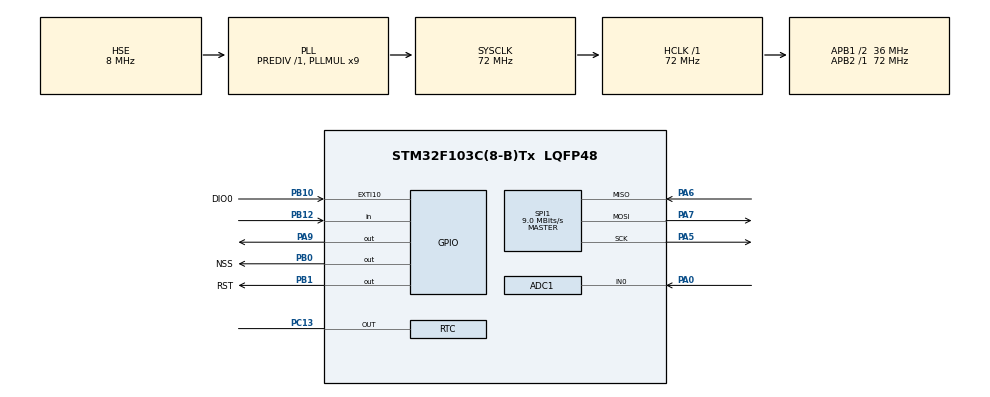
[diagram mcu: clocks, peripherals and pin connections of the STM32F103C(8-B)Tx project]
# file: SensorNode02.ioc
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ADC1.Channel-0\#ChannelRegularConversion=ADC_CHANNEL_0
ADC1.NbrOfConversionFlag=1
ADC1.Rank-0\#ChannelRegularConversion=1
ADC1.SamplingTime-0\#ChannelRegularConversion=ADC_SAMPLETIME_1CYCLE_5
ADC1.master=1
Dma.ADC1.0.Direction=DMA_PERIPH_TO_MEMORY
Dma.ADC1.0.Instance=DMA1_Channel1
Dma.ADC1.0.MemDataAlignment=DMA_MDATAALIGN_HALFWORD
Dma.ADC1.0.MemInc=DMA_MINC_ENABLE
Dma.ADC1.0.Mode=DMA_CIRCULAR
Dma.ADC1.0.PeriphDataAlignment=DMA_PDATAALIGN_HALFWORD
Dma.ADC1.0.PeriphInc=DMA_PINC_DISABLE
Dma.ADC1.0.Priority=DMA_PRIORITY_LOW
Dma.Request0=ADC1
Mcu.Family=STM32F1
Mcu.Name=STM32F103C(8-B)Tx
Mcu.Package=LQFP48
NVIC.DMA1_Channel1_IRQn=true\:0\:0\:false\:false\:true\:false\:true\:true
NVIC.EXTI15_10_IRQn=true\:1\:0\:true\:false\:true\:true\:true\:true
NVIC.PriorityGroup=NVIC_PRIORITYGROUP_4
NVIC.RTC_Alarm_IRQn=true\:0\:0\:false\:false\:true\:true\:true\:true
PA0-WKUP.Signal=ADCx_IN0
PA13.Mode=Serial_Wire
PA13.Signal=SYS_JTMS-SWDIO
PA14.Mode=Serial_Wire
PA14.Signal=SYS_JTCK-SWCLK
PA5.Mode=Full_Duplex_Master
PA5.Signal=SPI1_SCK
PA6.Mode=Full_Duplex_Master
PA6.Signal=SPI1_MISO
PA7.Mode=Full_Duplex_Master
PA7.Signal=SPI1_MOSI
PA9.Signal=GPIO_Output
PB0.GPIO_Label=NSS
PB0.PinState=GPIO_PIN_SET
PB0.Signal=GPIO_Output
PB1.GPIO_Label=RST
PB1.PinState=GPIO_PIN_SET
PB1.Signal=GPIO_Output
PB10.GPIO_Label=DIO0
PB10.Signal=GPXTI10
PB12.Signal=GPIO_Input
PC13-TAMPER-RTC.Mode=RTC OUT
PC13-TAMPER-RTC.Signal=RTC_OUT
PC14-OSC32_IN.Mode=LSE-External-Oscillator
PC14-OSC32_IN.Signal=RCC_OSC32_IN
PC15-OSC32_OUT.Mode=LSE-External-Oscillator
PC15-OSC32_OUT.Signal=RCC_OSC32_OUT
PD0-OSC_IN.Mode=HSE-External-Oscillator
PD0-OSC_IN.Signal=RCC_OSC_IN
PD1-OSC_OUT.Mode=HSE-External-Oscillator
PD1-OSC_OUT.Signal=RCC_OSC_OUT
ProjectManager.HeapSize=0x200
ProjectManager.StackSize=0x400
ProjectManager.TargetToolchain=STM32CubeIDE
RCC.ADCPresc=RCC_ADCPCLK2_DIV6
RCC.AHBFreq_Value=72000000
RCC.APB1CLKDivider=RCC_HCLK_DIV2
RCC.APB1Freq_Value=36000000
RCC.APB1TimFreq_Value=72000000
RCC.APB2Freq_Value=72000000
RCC.APB2TimFreq_Value=72000000
RCC.HCLKFreq_Value=72000000
RCC.PLLMUL=RCC_PLL_MUL9
RCC.PLLSourceVirtual=RCC_PLLSOURCE_HSE
RCC.SYSCLKFreq_VALUE=72000000
RCC.SYSCLKSource=RCC_SYSCLKSOURCE_PLLCLK
RCC.USBFreq_Value=72000000
RTC.Minutes_A-RTC\ OUT=0
RTC.Seconds_A-RTC\ OUT=11
SH.ADCx_IN0.0=ADC1_IN0,IN0
SPI1.BaudRatePrescaler=SPI_BAUDRATEPRESCALER_8
SPI1.CalculateBaudRate=9.0 MBits/s
SPI1.Direction=SPI_DIRECTION_2LINES
SPI1.Mode=SPI_MODE_MASTER
SPI1.VirtualType=VM_MASTER
TIM1.Prescaler=71
VP_RTC_VS_RTC_Activate.Mode=RTC_Enabled
VP_TIM1_VS_ClockSourceINT.Mode=Internal
board=custom

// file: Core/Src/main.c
/* USER CODE BEGIN Header */
/**
  ******************************************************************************
  * @file           : main.c
  * @brief          : Main program body
  ******************************************************************************
  * @attention
  *
  * Copyright (c) 2025 STMicroelectronics.
  * All rights reserved.
  *
  * This software is licensed under terms that can be found in the LICENSE file
  * in the root directory of this software component.
  * If no LICENSE file comes with this software, it is provided AS-IS.
  *
  ******************************************************************************
  */
/* USER CODE END Header */
#include "main.h"

/* USER CODE BEGIN Includes */
#include "DS18B20.h"
#include "Lora.h"
/* USER CODE END Includes */

/* USER CODE BEGIN PM */
LoRa myLoRa;
uint16_t LoRa_Status;
uint8_t RxBuffer[4];
uint16_t Data_Moisture;
uint8_t packet[5];
uint8_t Alarm_Set = 0x02;
//float soil_TEMP;
//float moisture_percentage;
#define ADC_MIN 1000  // Giá trị ADC khi đất ướt
#define ADC_MAX 3000  // Giá trị ADC khi đất khô

typedef struct Sensor_Data {
	float soil_TEMP;
	float moisture_percentage;
} Data;
Data Sensor_data;

/* USER CODE END PM */

ADC_HandleTypeDef hadc1;
DMA_HandleTypeDef hdma_adc1;

RTC_HandleTypeDef hrtc;

SPI_HandleTypeDef hspi1;

TIM_HandleTypeDef htim1;

void SystemClock_Config(void);
static void MX_GPIO_Init(void);
static void MX_DMA_Init(void);
static void MX_ADC1_Init(void);
static void MX_RTC_Init(void);
static void MX_SPI1_Init(void);
static void MX_TIM1_Init(void);
/* USER CODE BEGIN PFP */
void Data_Sending(const Data *_Data);
/* USER CODE END PFP */

int main(void)
{

  /* MCU Configuration--------------------------------------------------------*/

  /* Reset of all peripherals, Initializes the Flash interface and the Systick. */
  HAL_Init();

  /* Configure the system clock */
  SystemClock_Config();

  /* Initialize all configured peripherals */
  MX_GPIO_Init();
  MX_DMA_Init();
  MX_ADC1_Init();
  MX_RTC_Init();
  MX_SPI1_Init();
  MX_TIM1_Init();
  /* USER CODE BEGIN 2 */
  HAL_TIM_Base_Start(&htim1);

//LORA STATUS CONFIG
  myLoRa = newLoRa();

  myLoRa.CS_port         = NSS_GPIO_Port;
  myLoRa.CS_pin          = NSS_Pin;
  myLoRa.reset_port      = RST_GPIO_Port;
  myLoRa.reset_pin       = RST_Pin;
  myLoRa.DIO0_port       = DIO0_GPIO_Port;
  myLoRa.DIO0_pin        = DIO0_Pin;
  myLoRa.hSPIx           = &hspi1;

  myLoRa.frequency             = 440;             // default = 433 MHz
  myLoRa.spredingFactor        = SF_7;            // default = SF_7
  myLoRa.bandWidth             = BW_31_25KHz;       // default = BW_125KHz
  myLoRa.crcRate               = CR_4_5;          // default = CR_4_5
  myLoRa.power                 = POWER_20db;      // default = 20db
  myLoRa.overCurrentProtection = 130;             // default = 100 mA
  myLoRa.preamble              = 9;              // default = 8;

  if (LoRa_init(&myLoRa) == LORA_OK){
	  LoRa_Status = 1;
  }

//STABLE THE POWER AND MCU TO MAKE FLASHING JOB EASIER
//  HAL_Delay(2000);
  /* USER CODE END 2 */

  /* Infinite loop */
  while (1)
  {

    /* USER CODE BEGIN 3 */
////TURN OFF THE INTERRUPT FROM SX1278 LORA MODULE TO AVOILD UNWANTED WAKEUP STM32F1 BY SEND MODULE TO SLEEPMODE
	  LoRa_gotoMode(&myLoRa, SLEEP_MODE);
////ENTER SLEEPMODE AND NOW THE SYSTEM WAIT FOR INTERRUPT FROM RTC TO WAKEUP
  	  HAL_SuspendTick();
// 	  HAL_PWR_EnterSLEEPMode(PWR_MAINREGULATOR_ON, PWR_SLEEPENTRY_WFI);
  	  HAL_PWR_EnterSTOPMode(PWR_LOWPOWERREGULATOR_ON, PWR_STOPENTRY_WFI);
////RESUME TICK AFTER WAKING UP AND TURNON THE POWER MOSFET FOR READING DATA PROCESS
  	  SystemClock_Config();
  	  HAL_ResumeTick();
 	  HAL_GPIO_WritePin(GPIOA, GPIO_PIN_9, GPIO_PIN_SET); // Set the pin out put high to turn on the power Mosfet
  	  HAL_Delay(500); //Delay couple ms to stable the sensor's power
  	  LoRa_gotoMode(&myLoRa, STNBY_MODE);
	  LoRa_startReceiving(&myLoRa);

//READ DS18B20
  	  Sensor_data.soil_TEMP = Check_Temp();

//READ ADC Moisture
	  HAL_ADC_Start_DMA(&hadc1, (uint32_t*)&Data_Moisture, 1);
	  HAL_Delay(10);
	  HAL_ADC_Stop_DMA(&hadc1);

	  if (Data_Moisture > ADC_MAX) Data_Moisture = ADC_MAX;
	  if (Data_Moisture < ADC_MIN) Data_Moisture = ADC_MIN;
	  Sensor_data.moisture_percentage = ((float)(ADC_MAX - Data_Moisture) / (ADC_MAX - ADC_MIN)) * 100;

//SEND LORA DATA
	  Data_Sending(&Sensor_data);

//HANDLE START NETWORK CASE IF GATEWAY REQUIRE
	if (RxBuffer[0] == 0xFF)
	{
		while (RxBuffer[0] != 0xC0) //0xEE
		{
			//Wait for 0xC0 indicate ACK
			//If received ACK --> break while and send back ACK to gateway to indicate that sensor node is ready to start networ
		}
	HAL_Delay(250); //WAIT FOR NODE 1 TO FINISH ACK TRANSMIT
	LoRa_transmit(&myLoRa, &Alarm_Set, sizeof(Alarm_Set), 500);
	//After sending ACK --> sensor node wait for gateway to received all ACK from all other sensor nodes. After that, Gateway send start signal 0xB0 to start network
	LoRa_startReceiving(&myLoRa);
//	HAL_Delay(500); DO WE REALLY NEED THIS??
	while (RxBuffer[0] != 0xB0) //0xDD
		{
			//wait for start signal 0xB0
		}
	//Finally, after received start signal from Gateway --> Reset wake up alarm to synchronize time slot between nodes
	MX_RTC_Init();
	}

//AFTER SENDING SENSOR DATA, TURN OFF THE POWER MOSFET AND GO TO SLEEP AGAIN, WAITING FOR A NEW RTC WAKE UP...
	HAL_GPIO_WritePin(GPIOA, GPIO_PIN_9, GPIO_PIN_RESET);
  }
  /* USER CODE END 3 */
}

void SystemClock_Config(void)
{
  RCC_OscInitTypeDef RCC_OscInitStruct = {0};
  RCC_ClkInitTypeDef RCC_ClkInitStruct = {0};
  RCC_PeriphCLKInitTypeDef PeriphClkInit = {0};

  /** Initializes the RCC Oscillators according to the specified parameters
  * in the RCC_OscInitTypeDef structure.
  */
  RCC_OscInitStruct.OscillatorType = RCC_OSCILLATORTYPE_LSI|RCC_OSCILLATORTYPE_HSE;
  RCC_OscInitStruct.HSEState = RCC_HSE_ON;
  RCC_OscInitStruct.HSEPredivValue = RCC_HSE_PREDIV_DIV1;
  RCC_OscInitStruct.HSIState = RCC_HSI_ON;
  RCC_OscInitStruct.LSIState = RCC_LSI_ON;
  RCC_OscInitStruct.PLL.PLLState = RCC_PLL_ON;
  RCC_OscInitStruct.PLL.PLLSource = RCC_PLLSOURCE_HSE;
  RCC_OscInitStruct.PLL.PLLMUL = RCC_PLL_MUL9;
  if (HAL_RCC_OscConfig(&RCC_OscInitStruct) != HAL_OK)
  {
    Error_Handler();
  }

  /** Initializes the CPU, AHB and APB buses clocks
  */
  RCC_ClkInitStruct.ClockType = RCC_CLOCKTYPE_HCLK|RCC_CLOCKTYPE_SYSCLK
                              |RCC_CLOCKTYPE_PCLK1|RCC_CLOCKTYPE_PCLK2;
  RCC_ClkInitStruct.SYSCLKSource = RCC_SYSCLKSOURCE_PLLCLK;
  RCC_ClkInitStruct.AHBCLKDivider = RCC_SYSCLK_DIV1;
  RCC_ClkInitStruct.APB1CLKDivider = RCC_HCLK_DIV2;
  RCC_ClkInitStruct.APB2CLKDivider = RCC_HCLK_DIV1;

  if (HAL_RCC_ClockConfig(&RCC_ClkInitStruct, FLASH_LATENCY_2) != HAL_OK)
  {
    Error_Handler();
  }
  PeriphClkInit.PeriphClockSelection = RCC_PERIPHCLK_RTC|RCC_PERIPHCLK_ADC;
  PeriphClkInit.RTCClockSelection = RCC_RTCCLKSOURCE_LSI;
  PeriphClkInit.AdcClockSelection = RCC_ADCPCLK2_DIV6;
  if (HAL_RCCEx_PeriphCLKConfig(&PeriphClkInit) != HAL_OK)
  {
    Error_Handler();
  }
}

static void MX_ADC1_Init(void)
{

  ADC_ChannelConfTypeDef sConfig = {0};

  /** Common config
  */
  hadc1.Instance = ADC1;
  hadc1.Init.ScanConvMode = ADC_SCAN_DISABLE;
  hadc1.Init.ContinuousConvMode = DISABLE;
  hadc1.Init.DiscontinuousConvMode = DISABLE;
  hadc1.Init.ExternalTrigConv = ADC_SOFTWARE_START;
  hadc1.Init.DataAlign = ADC_DATAALIGN_RIGHT;
  hadc1.Init.NbrOfConversion = 1;
  if (HAL_ADC_Init(&hadc1) != HAL_OK)
  {
    Error_Handler();
  }

  /** Configure Regular Channel
  */
  sConfig.Channel = ADC_CHANNEL_0;
  sConfig.Rank = ADC_REGULAR_RANK_1;
  sConfig.SamplingTime = ADC_SAMPLETIME_1CYCLE_5;
  if (HAL_ADC_ConfigChannel(&hadc1, &sConfig) != HAL_OK)
  {
    Error_Handler();
  }

}

static void MX_RTC_Init(void)
{

  RTC_TimeTypeDef sTime = {0};
  RTC_DateTypeDef DateToUpdate = {0};
  RTC_AlarmTypeDef sAlarm = {0};

  /** Initialize RTC Only
  */
  hrtc.Instance = RTC;
  hrtc.Init.AsynchPrediv = RTC_AUTO_1_SECOND;
  hrtc.Init.OutPut = RTC_OUTPUTSOURCE_ALARM;
  if (HAL_RTC_Init(&hrtc) != HAL_OK)
  {
    Error_Handler();
  }

  /** Initialize RTC and set the Time and Date
  */
  sTime.Hours = 0x0;
  sTime.Minutes = 0x0;
  sTime.Seconds = 0x0;

  if (HAL_RTC_SetTime(&hrtc, &sTime, RTC_FORMAT_BCD) != HAL_OK)
  {
    Error_Handler();
  }
  DateToUpdate.WeekDay = RTC_WEEKDAY_MONDAY;
  DateToUpdate.Month = RTC_MONTH_JANUARY;
  DateToUpdate.Date = 0x1;
  DateToUpdate.Year = 0x0;

  if (HAL_RTC_SetDate(&hrtc, &DateToUpdate, RTC_FORMAT_BCD) != HAL_OK)
  {
    Error_Handler();
  }

  /** Enable the Alarm A
  */
  sAlarm.AlarmTime.Hours = 0x0;
  sAlarm.AlarmTime.Minutes = 0x0;
  sAlarm.AlarmTime.Seconds = 0x11;
  sAlarm.Alarm = RTC_ALARM_A;
  if (HAL_RTC_SetAlarm_IT(&hrtc, &sAlarm, RTC_FORMAT_BCD) != HAL_OK)
  {
    Error_Handler();
  }

}

static void MX_SPI1_Init(void)
{

  /* SPI1 parameter configuration*/
  hspi1.Instance = SPI1;
  hspi1.Init.Mode = SPI_MODE_MASTER;
  hspi1.Init.Direction = SPI_DIRECTION_2LINES;
  hspi1.Init.DataSize = SPI_DATASIZE_8BIT;
  hspi1.Init.CLKPolarity = SPI_POLARITY_LOW;
  hspi1.Init.CLKPhase = SPI_PHASE_1EDGE;
  hspi1.Init.NSS = SPI_NSS_SOFT;
  hspi1.Init.BaudRatePrescaler = SPI_BAUDRATEPRESCALER_8;
  hspi1.Init.FirstBit = SPI_FIRSTBIT_MSB;
  hspi1.Init.TIMode = SPI_TIMODE_DISABLE;
  hspi1.Init.CRCCalculation = SPI_CRCCALCULATION_DISABLE;
  hspi1.Init.CRCPolynomial = 10;
  if (HAL_SPI_Init(&hspi1) != HAL_OK)
  {
    Error_Handler();
  }

}

static void MX_TIM1_Init(void)
{

  TIM_ClockConfigTypeDef sClockSourceConfig = {0};
  TIM_MasterConfigTypeDef sMasterConfig = {0};

  htim1.Instance = TIM1;
  htim1.Init.Prescaler = 71;
  htim1.Init.CounterMode = TIM_COUNTERMODE_UP;
  htim1.Init.Period = 65535;
  htim1.Init.ClockDivision = TIM_CLOCKDIVISION_DIV1;
  htim1.Init.RepetitionCounter = 0;
  htim1.Init.AutoReloadPreload = TIM_AUTORELOAD_PRELOAD_DISABLE;
  if (HAL_TIM_Base_Init(&htim1) != HAL_OK)
  {
    Error_Handler();
  }
  sClockSourceConfig.ClockSource = TIM_CLOCKSOURCE_INTERNAL;
  if (HAL_TIM_ConfigClockSource(&htim1, &sClockSourceConfig) != HAL_OK)
  {
    Error_Handler();
  }
  sMasterConfig.MasterOutputTrigger = TIM_TRGO_RESET;
  sMasterConfig.MasterSlaveMode = TIM_MASTERSLAVEMODE_DISABLE;
  if (HAL_TIMEx_MasterConfigSynchronization(&htim1, &sMasterConfig) != HAL_OK)
  {
    Error_Handler();
  }

}

static void MX_DMA_Init(void)
{

  /* DMA controller clock enable */
  __HAL_RCC_DMA1_CLK_ENABLE();

  /* DMA interrupt init */
  /* DMA1_Channel1_IRQn interrupt configuration */
  HAL_NVIC_SetPriority(DMA1_Channel1_IRQn, 0, 0);
  HAL_NVIC_EnableIRQ(DMA1_Channel1_IRQn);

}

static void MX_GPIO_Init(void)
{
  GPIO_InitTypeDef GPIO_InitStruct = {0};

  /* GPIO Ports Clock Enable */
  __HAL_RCC_GPIOC_CLK_ENABLE();
  __HAL_RCC_GPIOD_CLK_ENABLE();
  __HAL_RCC_GPIOA_CLK_ENABLE();
  __HAL_RCC_GPIOB_CLK_ENABLE();

  /*Configure GPIO pin Output Level */
  HAL_GPIO_WritePin(GPIOB, NSS_Pin|RST_Pin, GPIO_PIN_SET);

  /*Configure GPIO pin Output Level */
  HAL_GPIO_WritePin(GPIOA, GPIO_PIN_9, GPIO_PIN_RESET);

  /*Configure GPIO pins : NSS_Pin RST_Pin */
  GPIO_InitStruct.Pin = NSS_Pin|RST_Pin;
  GPIO_InitStruct.Mode = GPIO_MODE_OUTPUT_PP;
  GPIO_InitStruct.Pull = GPIO_NOPULL;
  GPIO_InitStruct.Speed = GPIO_SPEED_FREQ_LOW;
  HAL_GPIO_Init(GPIOB, &GPIO_InitStruct);

  /*Configure GPIO pin : DIO0_Pin */
  GPIO_InitStruct.Pin = DIO0_Pin;
  GPIO_InitStruct.Mode = GPIO_MODE_IT_RISING;
  GPIO_InitStruct.Pull = GPIO_NOPULL;
  HAL_GPIO_Init(DIO0_GPIO_Port, &GPIO_InitStruct);

  /*Configure GPIO pin : PB12 */
  GPIO_InitStruct.Pin = GPIO_PIN_12;
  GPIO_InitStruct.Mode = GPIO_MODE_INPUT;
  GPIO_InitStruct.Pull = GPIO_NOPULL;
  HAL_GPIO_Init(GPIOB, &GPIO_InitStruct);

  /*Configure GPIO pin : PA9 */
  GPIO_InitStruct.Pin = GPIO_PIN_9;
  GPIO_InitStruct.Mode = GPIO_MODE_OUTPUT_PP;
  GPIO_InitStruct.Pull = GPIO_NOPULL;
  GPIO_InitStruct.Speed = GPIO_SPEED_FREQ_LOW;
  HAL_GPIO_Init(GPIOA, &GPIO_InitStruct);

  /* EXTI interrupt init*/
  HAL_NVIC_SetPriority(EXTI15_10_IRQn, 1, 0);
  HAL_NVIC_EnableIRQ(EXTI15_10_IRQn);

}

/* USER CODE BEGIN 4 */
void HAL_RTC_AlarmAEventCallback(RTC_HandleTypeDef *hrtc)
{
//    RTC_TimeTypeDef sTime = {0};
//    RTC_AlarmTypeDef sAlarm = {0};
//
//
//    // Get current time
//    HAL_RTC_GetTime(hrtc, &sTime, RTC_FORMAT_BIN);  // Chuyển sang RTC_FORMAT_BIN để dễ tính toán
//
//    // Adding 10s to wake up sequence, because first setting of the alarm is 10s so this node will wake up at 10s 20s 30s...
//    uint32_t total_seconds = sTime.Hours * 3600 + sTime.Minutes * 60 + sTime.Seconds + 10;
//    sAlarm.AlarmTime.Hours   = (total_seconds / 3600) % 24;
//    sAlarm.AlarmTime.Minutes = (total_seconds / 60) % 60;
//    sAlarm.AlarmTime.Seconds = total_seconds % 60;
//    sAlarm.Alarm = RTC_ALARM_A;
//    // Re-set alarm with updated wakeup time
//    HAL_RTC_SetAlarm_IT(hrtc, &sAlarm, RTC_FORMAT_BIN);  // Sử dụng RTC_FORMAT_BIN
	MX_RTC_Init();
}

//THIS WAKE UP TRIGGERED BY GPIO DIO0, HAPPENS WHEN A DATA RECEIVED BY SX1278 MODULE
void HAL_GPIO_EXTI_Callback(uint16_t GPIO_Pin)
{
    if (GPIO_Pin == DIO0_Pin)
    {
  	  LoRa_receive(&myLoRa, RxBuffer, sizeof(RxBuffer));
    }
}

//THIS FUNCTION WILL TAKE THE DATA THAT STORED IN DATA STRUCT AND "RIPPED" IT INTO 1 BYTE FORMAT FOR SX1278 TO SEND BYTE BY BYTE TO GATEWAY
void Data_Sending(const Data *_Data)
{
//	  uint8_t retry;
	  uint16_t SOIL_TEMP    = (uint16_t)(_Data->soil_TEMP * 10);
	  uint16_t DATA_Moisture = (uint16_t)(_Data->moisture_percentage * 10);

	  packet[0] = 0xA2;  // NODE'S ID
	  packet[1] = (uint8_t)(SOIL_TEMP >> 8);
	  packet[2] = (uint8_t)(SOIL_TEMP & 0xFF);
	  packet[3] = (uint8_t)(DATA_Moisture >> 8);
	  packet[4] = (uint8_t)(DATA_Moisture & 0xFF);
	  LoRa_transmit(&myLoRa, (uint8_t*)packet, sizeof(packet), 500);
//	  LoRa_startReceiving(&myLoRa);
//	  HAL_Delay(500);
//
//	  //Gửi lại data nếu không có phản hồi ACK Data
//	  while (RxBuffer[1] != 0x02 && retry < 2 && RxBuffer[0] != 0xFF)
//	  {
//	      LoRa_transmit(&myLoRa, (uint8_t*)packet, sizeof(packet), 500);
//	      LoRa_startReceiving(&myLoRa);
//	      HAL_Delay(500);
//	      retry++;
//	  }
//	  retry = 0;
}
/* USER CODE END 4 */

void Error_Handler(void)
{
  __disable_irq();
  while (1)
  {
  }
}
